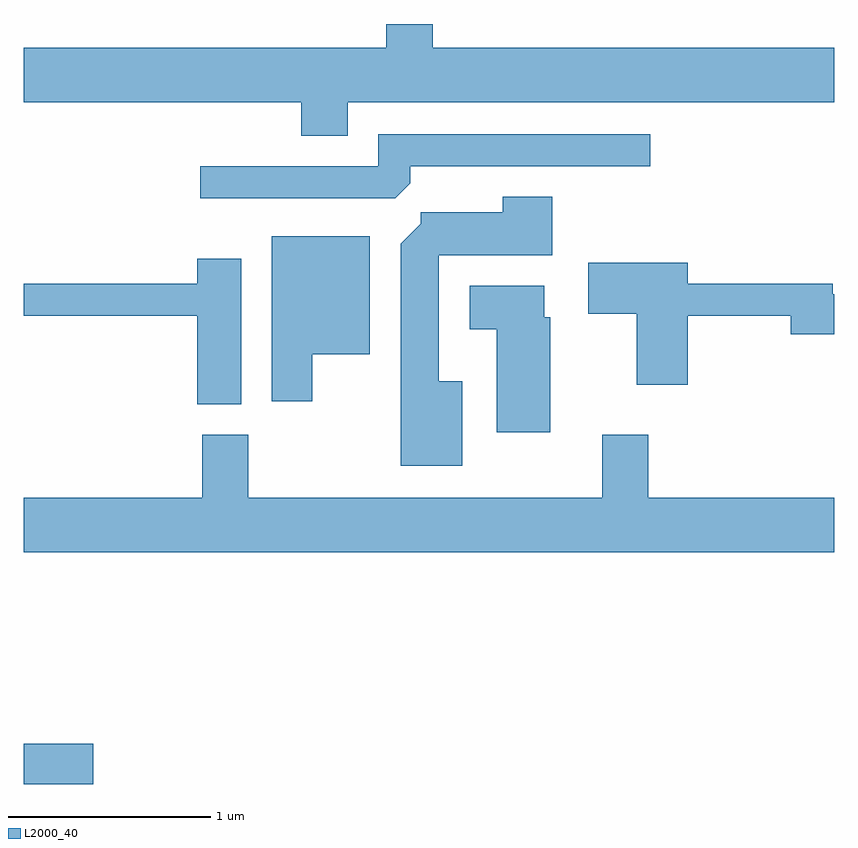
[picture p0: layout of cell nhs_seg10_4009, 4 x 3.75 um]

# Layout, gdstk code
import gdstk
lib = gdstk.Library(unit=1e-6, precision=1e-09)
def R(c, l, rs):  # rectangles x0, y0, x1, y1
    for r in rs: c.add(gdstk.rectangle(r[:2], r[2:], *l))
def P(c, l, *ps):  # polygons
    for p in ps: c.add(gdstk.Polygon(p, *l))
L2000_40 = (2000, 40)

nhs_seg10_4009 = lib.new_cell('nhs_seg10_4009')
R(nhs_seg10_4009, L2000_40, [(303.611,2112.771,303.954,2112.969)])
P(nhs_seg10_4009, L2000_40, [(305.209,2116.136),(307.611,2116.136),(307.611,2116.404),(305.629,2116.404),(305.629,2116.522),(305.401,2116.522),(305.401,2116.404),(303.611,2116.404),(303.611,2116.136),(304.981,2116.136),(304.981,2115.971),(305.209,2115.971)],
  [(305.519,2115.737),(305.519,2115.821),(306.703,2115.821),(306.703,2115.979),(305.361,2115.979),(305.361,2115.819),(304.483,2115.819),(304.483,2115.661),(305.444,2115.661)],
  [(305.774,2114.759),(305.659,2114.759),(305.659,2115.381),(306.219,2115.381),(306.219,2115.669),(305.976,2115.669),(305.976,2115.594),(305.571,2115.594),(305.571,2115.537),(305.471,2115.437),(305.471,2114.341),(305.774,2114.341)],
  [(305.034,2114.891),(305.319,2114.891),(305.319,2115.474),(304.836,2115.474),(304.836,2114.661),(305.034,2114.661)],
  [(304.684,2115.364),(304.466,2115.364),(304.466,2115.239),(303.611,2115.239),(303.611,2115.081),(304.466,2115.081),(304.466,2114.646),(304.684,2114.646)],
  [(306.889,2115.081),(307.396,2115.081),(307.396,2114.991),(307.611,2114.991),(307.611,2115.189),(307.604,2115.189),(307.604,2115.239),(306.889,2115.239),(306.889,2115.344),(306.396,2115.344),(306.396,2115.091),(306.636,2115.091),(306.636,2114.741),(306.889,2114.741)],
  [(306.209,2115.074),(306.179,2115.074),(306.179,2115.229),(305.811,2115.229),(305.811,2115.016),(305.946,2115.016),(305.946,2114.506),(306.209,2114.506)],
  [(307.611,2114.184),(306.694,2114.184),(306.694,2114.494),(306.466,2114.494),(306.466,2114.184),(304.719,2114.184),(304.719,2114.494),(304.491,2114.494),(304.491,2114.184),(303.611,2114.184),(303.611,2113.916),(307.611,2113.916)])

lib.write_gds('nhs_seg10_4009.gds')
